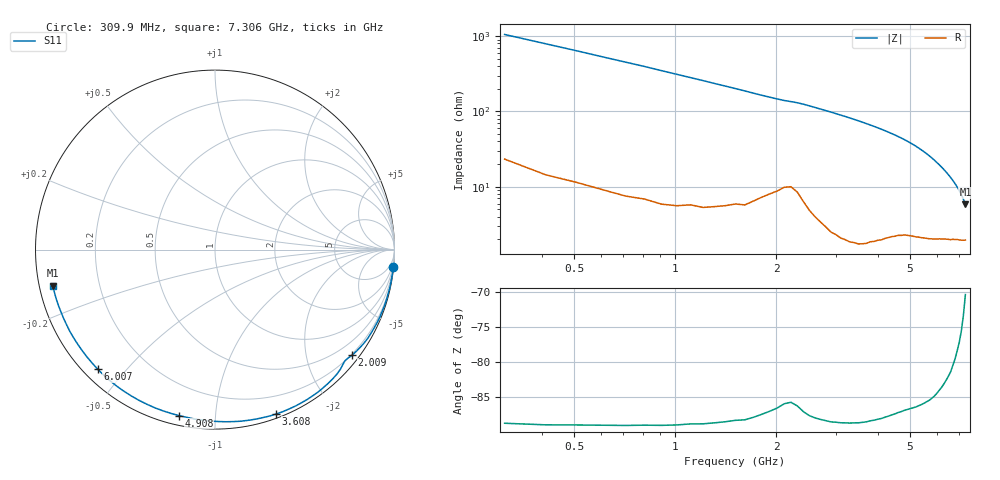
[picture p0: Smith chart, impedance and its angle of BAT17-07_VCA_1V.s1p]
! Infineon Technologies  Discrete & RF Semiconductors
! BAT17-07
! VCA = 1 V
! One-Port S-Parameters
# Hz  S  MA  R  50
!f  S11
!Hz  Mag  Ang
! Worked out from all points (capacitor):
!   71 points, 309.9 MHz to 7.306 GHz, reference 50 ohm
!   read as one part to ground: C = 489 fF near 309.9 MHz
!   lowest |Z| = 5.85 ohm at 7.306 GHz (marker M1)
!   S11 on the Smith chart (normalised r, x): 309.9 MHz: 0, -21; 2.009 GHz: 0.18, -2.93; 3.608 GHz: 0.04, -1.44; 4.908 GHz: 0.05, -0.80; 6.007 GHz: 0.04, -0.42; 7.306 GHz: 0.04, -0.11
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3.0985e8  0.9979 -5.4
8.096e8  0.9957 -14.4
1.2094e9  0.9922 -22.0
1.6092e9  0.9848 -29.9
1.8091e9  0.9755 -33.9
2.009e9  0.964 -37.6
2.10895e9  0.9563 -39.2
2.30885e9  0.9575 -41.9
2.50875e9  0.9711 -45.7
2.70865e9  0.9762 -49.9
3.0085e9  0.9797 -56.2
3.30835e9  0.9801 -62.8
3.6082e9  0.9774 -69.6
3.8081e9  0.9732 -74.2
4.10795e9  0.9669 -81.5
4.30785e9  0.961 -86.4
4.50775e9  0.9557 -91.5
4.70765e9  0.9505 -96.8
4.90755e9  0.9464 -102.3
5.2074e9  0.943 -110.8
5.4073e9  0.9405 -116.7
5.6072e9  0.9382 -122.7
5.8071e9  0.936 -128.6
6.007e9  0.9333 -134.5
6.2069e9  0.9308 -140.1
6.50675e9  0.9284 -148.0
6.90655e9  0.9259 -157.9
7.30635e9  0.9254 -167.4
